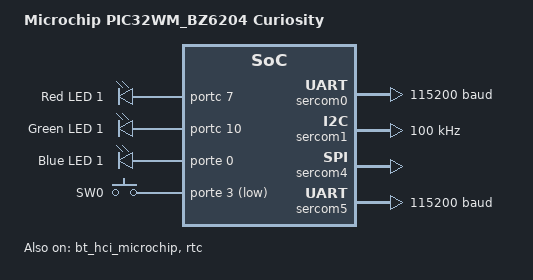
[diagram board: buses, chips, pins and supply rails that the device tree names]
/*
 * Copyright (c) 2025 Microchip Technology Inc.
 *
 * SPDX-License-Identifier: Apache-2.0
 */

/dts-v1/;
#include <microchip/pic32c/pic32cx_bz/bz6x/bz62/pic32cx2051bz62132.dtsi>
#include "pic32wm_bz6204_curiosity-pinctrl.dtsi"
#include <zephyr/dt-bindings/input/input-event-codes.h>
#include <zephyr/dt-bindings/i2c/i2c.h>

/ {
	model = "Microchip PIC32WM_BZ6204 Curiosity";
	compatible = "microchip,pic32wm-bz6204-curiosity";

	chosen {
		zephyr,console = &sercom0;
		zephyr,shell-uart = &sercom0;
		zephyr,sram = &sram0;
		zephyr,flash = &flash0;
		zephyr,code-partition = &code_partition;
		zephyr,bt-hci = &bt_hci_microchip;
		zephyr,bt-c2h-uart = &sercom0;
	};

	leds {
		compatible = "gpio-leds";
		led0: led_0 {
			gpios = <&portc 7 GPIO_ACTIVE_HIGH>;
			label = "Red LED 1";
		};
		led1: led_1 {
			gpios = <&portc 10 GPIO_ACTIVE_HIGH>;
			label = "Green LED 1";
		};
		led2: led_2 {
			gpios = <&porte 0 GPIO_ACTIVE_HIGH>;
			label = "Blue LED 1";
		};
	};

	buttons {
		compatible = "gpio-keys";
		button0: button_0 {
			gpios = <&porte 3 (GPIO_PULL_UP | GPIO_ACTIVE_LOW)>;
			label = "SW0";
			zephyr,code = <INPUT_KEY_0>;
		};
	};
	/* These aliases are provided for compatibility with samples */
	aliases {
		led0 = &led0;
		led1 = &led1;
		led2 = &led2;
		sw0 = &button0;
		rtc = &rtc;
	};
};

&cpu0 {
	clock-frequency = <128000000>;
};


&sercom0 {
	status = "okay";
	compatible = "microchip,sercom-g1-uart";
	rxpo = <1>;
	txpo = <0>;
	current-speed = <115200>;
	pinctrl-0 = <&sercom0_uart_default>;
	pinctrl-names = "default";

	dmas = <&dmac 0 4>, <&dmac 1 5>;
	dma-names = "rx", "tx";
};

&sercom1 {
	status = "okay";
	compatible = "microchip,sercom-g1-i2c";
	clock-frequency = <I2C_BITRATE_STANDARD>;
	#address-cells = <1>;
	#size-cells = <0>;
	pinctrl-0 = <&sercom1_i2c_default>;
	pinctrl-names = "default";

	dmas = <&dmac 2 6>, <&dmac 3 7>;
	dma-names = "rx", "tx";
};

/* sercom 4 uart mode for mikroBUS socket 1
 *&sercom4 {
 *	status = "okay";
 *	compatible = "microchip,sercom-g1-uart";
 *	rxpo = <2>;
 *	txpo = <0>;
 *	current-speed = <115200>;
 *	pinctrl-0 = <&sercom4_uart_default>;
 *	pinctrl-names = "default";
 *
 *	dmas = <&dmac 4 12>, <&dmac 5 13>;
 *	dma-names = "rx", "tx";
 *};
 */

/* sercom 4 spi master mode for mikroBUS socket 1 */
&sercom4 {
	status = "okay";
	compatible = "microchip,sercom-g1-spi";
	dipo = <0>;
	dopo = <2>;
	#address-cells = <1>;
	#size-cells = <0>;

	pinctrl-0 = <&sercom4_spi_master_socket1>;
	pinctrl-names = "default";

	dmas = <&dmac 4 12>, <&dmac 5 13>;
	dma-names = "rx", "tx";
};

/* sercom 4 spi slave mode for mikroBUS socket 1
 *&sercom4 {
 *	status = "okay";
 *	compatible = "microchip,sercom-g1-spi";
 *	dipo = <3>;
 *	dopo = <0>;
 *	#address-cells = <1>;
 *	#size-cells = <0>;
 *
 *	pinctrl-0 = <&sercom4_spi_slave_socket1>;
 *	pinctrl-names = "default";
 *
 *	dmas = <&dmac 4 12>, <&dmac 5 13>;
 *	dma-names = "rx", "tx";
 *};
 */

/* sercom 4 spi master mode for mikroBUS socket 2
 * socket 2 does not support slave mode
&sercom4 {
	status = "okay";
	compatible = "microchip,sercom-g1-spi";
	dipo = <0>;
	dopo = <2>;
	#address-cells = <1>;
	#size-cells = <0>;

	pinctrl-0 = <&sercom4_spi_master_socket2>;
	pinctrl-names = "default";

	dmas = <&dmac 4 12>, <&dmac 5 13>;
	dma-names = "rx", "tx";
};
*/

/* sercom 5 uart mode for mikroBUS socket 2  */
&sercom5 {
	status = "okay";
	compatible = "microchip,sercom-g1-uart";
	rxpo = <3>;
	txpo = <0>;
	current-speed = <115200>;
	pinctrl-0 = <&sercom5_uart_default>;
	pinctrl-names = "default";

	dmas = <&dmac 6 14>, <&dmac 7 15>;
	dma-names = "rx", "tx";
};


&bt_hci_microchip {
	status = "okay";
};


&flash0 {
	partitions {
		compatible = "fixed-partitions";
		#address-cells = <1>;
		#size-cells = <1>;

		code_partition: partition@0 {
			label = "code";
			reg = <0x0 DT_SIZE_K(2048-16)>;  /* Start at 0x01000000, size 2 MB */
			read-only;
		};

		/*
		 * The final 16 KiB is reserved for the application.
		 * Storage partition will be used by FCB/LittleFS/NVS
		 * if enabled.
		 */
		storage_partition: partition@1FC000 {
			label = "storage";
			reg = <0x1FC000 0x00004000>;
		};
	};
};

&porta {
	status = "okay";
};

&portb {
	status = "okay";
};

&rtc {
	compatible = "microchip,rtc-g1";
	status = "okay";
	prescaler = <1024>;
	alarms-count = <2>;
	cal-constant = <1048576>;  /*(8192 * 128 = 1048576)*/
};
